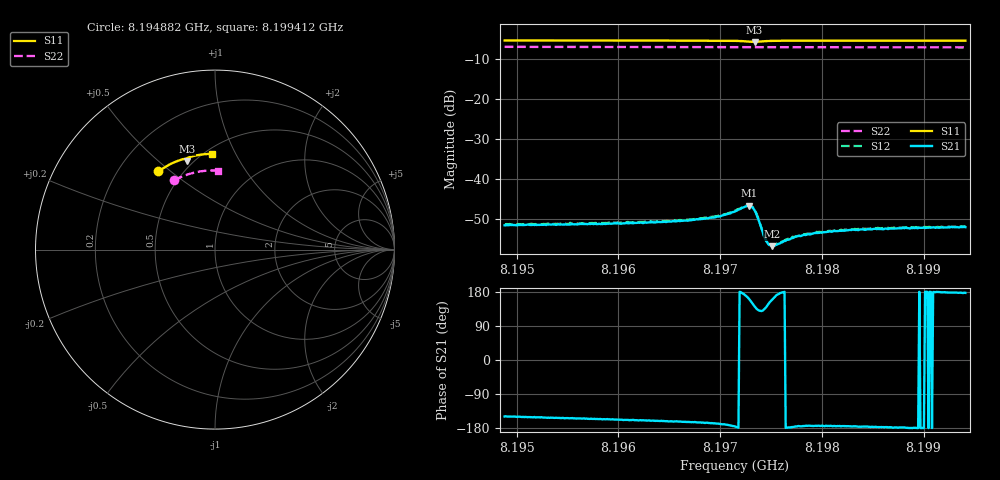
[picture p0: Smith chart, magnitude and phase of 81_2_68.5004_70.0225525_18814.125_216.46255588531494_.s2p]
#  HZ  S  RI  R  50.00
! Rohde & Schwarz Vector Network Analyzer
! Rohde-Schwarz,ZNB20-2Port,1311601062101988,3.16
! Created: UTC 3/20/2024, 4:52:09 PM
! freq[Hz]  re:S11  im:S11  re:S21  im:S21  re:S12  im:S12  re:S22  im:S22
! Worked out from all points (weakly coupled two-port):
!   401 points, 8.194882 GHz to 8.199412 GHz, reference 50 ohm
!   highest |S21| = -46.74 dB at 8.197283 GHz (marker M1); lowest = -56.9 dB at 8.197509 GHz (marker M2)
!   lowest |S11| = -5.7 dB at 8.197339 GHz (marker M3), VSWR 3.14, Z = 23.2 + j31.2 ohm
!   |S11| at or under -10 dB: nowhere
!   |S22| runs from -7.1 to -7.0 dB; largest |S21 - S12| = 0.00024
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8.1948821e9  -0.3148 0.4365  -0.00224 -0.00135  -0.00235 -0.00132  -0.2265 0.386
8.1956408e9  -0.2692 0.4653  -0.00245 -0.00115  -0.00254 -0.00111  -0.1884 0.4047
8.1963995e9  -0.2205 0.4892  -0.00272 -0.000951  -0.0028 -0.000857  -0.1486 0.4197
8.1966939e9  -0.2006 0.4973  -0.00288 -0.000857  -0.00299 -0.000768  -0.1327 0.4246
8.1969317e9  -0.1831 0.503  -0.00318 -0.000729  -0.0033 -0.000624  -0.1198 0.4278
8.1970562e9  -0.1729 0.5053  -0.00352 -0.000579  -0.00359 -0.00046  -0.1131 0.4294
8.1971468e9  -0.1647 0.5058  -0.00388 -0.000319  -0.00398 -0.000169  -0.1081 0.4306
8.1972374e9  -0.1554 0.503  -0.00438 0.000525  -0.00443 0.000723  -0.1031 0.4316
8.1972827e9  -0.1522 0.4983  -0.00437 0.00143  -0.00433 0.00167  -0.1006 0.4319
8.1973167e9  -0.1533 0.4944  -0.00378 0.00221  -0.00374 0.00241  -0.0988 0.432
8.1973393e9  -0.1557 0.4928  -0.00314 0.0025  -0.00311 0.00267  -0.0978 0.4322
8.197362e9  -0.1586 0.4933  -0.00242 0.00248  -0.00239 0.00265  -0.0965 0.4327
8.1974299e9  -0.1611 0.5009  -0.00131 0.00141  -0.00131 0.00149  -0.093 0.4335
8.1974526e9  -0.1601 0.5034  -0.00125 0.00108  -0.00126 0.00115  -0.0916 0.4338
8.1974865e9  -0.1577 0.5065  -0.0013 0.000689  -0.00129 0.000765  -0.0897 0.4342
8.1975092e9  -0.1558 0.5081  -0.00133 0.000527  -0.00133 0.000585  -0.0884 0.4345
8.1975545e9  -0.1522 0.5108  -0.00147 0.000227  -0.0015 0.000326  -0.0858 0.4348
8.1977583e9  -0.1359 0.5174  -0.0019 -0.000161  -0.00191 -0.000106  -0.0745 0.4368
8.1979055e9  -0.1248 0.5204  -0.00203 -0.000216  -0.0021 -0.000114  -0.0662 0.4378
8.1982905e9  -0.097 0.5262  -0.00227 -0.000183  -0.00232 -0.000102  -0.0448 0.4398
8.1986642e9  -0.0705 0.5301  -0.0024 -0.000111  -0.00239 -1.03e-05  -0.0237 0.4408
8.1994115e9  -0.0173 0.5336  -0.00247 0.000122  -0.00249 0.000236  0.0187 0.4398
